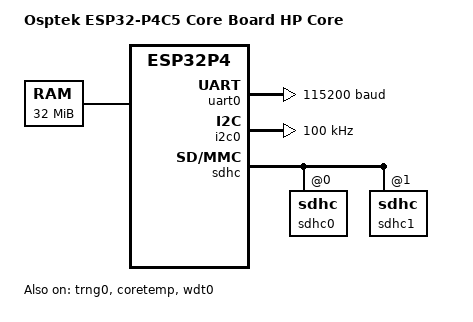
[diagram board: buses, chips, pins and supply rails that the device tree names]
/*
 * Copyright (c) 2026 Tessera Project
 *
 * SPDX-License-Identifier: Apache-2.0
 *
 * Osptek ESP32-P4C5 module on the Osptek ESP32P4 base carrier (HP core) —
 * ESP32-P4 + ESP32-C5 companion.
 * Adapted from in-tree waveshare/esp32p4_wifi6_dev_kit (same P4 SoC family).
 *
 * Vendor material this definition was checked against (2026-11-24):
 *   - gitee.com/osptek/esp32-p4c5-core-board: 88-pin table
 *     (pages/引脚定义.md), module Altium symbol library, PCB library, 3D model.
 *   - gitee.com/osptek/devboard-esp32p4c5_module: carrier schematic
 *     docs/ESP32-P4C5-Module_Schematic_V1.5.pdf (Ver 1.5, 2026-08-29,
 *     sheet "ESP32P4模组基础底板"), PoE-Ethernet adapter schematic V1.2,
 *     and the prebuilt C5 firmware ESP32-C5_ESP-Hosted_v2.12.9 (flash 0x0).
 *   The module's own schematic is not published (the core-board user guide
 *   says "5. 原理图 暂无"), so the module pin table is the pin source.
 *
 * Board facts: 16MB NOR flash, 32MB embedded PSRAM, CH343 USB-UART bridge on
 * UART0 (GPIO37 TXD / GPIO38 RXD), ESP32-P4 rev v3.2 (the Zephyr SoC
 * revision selected by Kconfig.esp32p4c5_core_board is REV_3_1). No on-board
 * LED/buttons: the carrier's LEDs belong to the display FPC and BOOT/RST are
 * the CH343's auto-download circuits, not mechanical switches.
 *
 * C5 companion wiring (vendor c5-p4-connection.png + carrier schematic):
 * SDIO pads P4 GPIO14/15/16/17/18/19 = D0/D1/D2/D3/CLK/CMD, reset P4 GPIO54 ->
 * C5 CHIP_PU (= &gpio1 22 in the gpio1 controller 32-base numbering),
 * handshake P4 GPIO6 <-> C5 GPIO2 (not modeled by the current
 * esp_hosted_mcu binding). Enabled: C5 runs an esp-hosted 3.x slave
 * firmware (owner-confirmed 2026-10-30) matching the driver contract — note
 * the vendor's prebuilt C5 binary is classic ESP-Hosted v2.12.9, which is a
 * different firmware line and must not be flashed over the MCU build.
 * Required pinned-driver patches are listed in build-support/README.md and
 * build-support/dependencies.json; network validation boundaries are in
 * docs/rf1-validation.md. Enumeration alone does not establish scan,
 * association, DHCP or TLS acceptance.
 */

/dts-v1/;

#include <espressif/esp32p4/esp32p4_rev3.dtsi>
#include "esp32p4c5_core_board_esp32p4_hpcore-pinctrl.dtsi"
#include <espressif/partitions_0x2000_default_16M.dtsi>
#include <zephyr/dt-bindings/memory-attr/memory-attr.h>
#include <zephyr/dt-bindings/memory-attr/memory-attr-sw.h>

/* Size of the in-package PSRAM; the device and the allocation pool below
 * must agree. */
#define PSRAM_BYTES DT_SIZE_M(32)

/ {
	model = "Osptek ESP32-P4C5 Core Board HP Core";
	compatible = "osptek,esp32p4c5-core-board";

	chosen {
		zephyr,sram = &sramhp;
		zephyr,console = &uart0;
		zephyr,shell-uart = &uart0;
		zephyr,flash = &flash0;
		zephyr,code-partition = &slot0_partition;
		zephyr,watchdog = &wdt0;
		zephyr,bt-hci = &esp_hosted_mcu_hci;
	};

	aliases {
		watchdog0 = &wdt0;
	};

	/*
	 * The in-package PSRAM, all of it, is the allocation pool of the C
	 * library's allocator (platform/zephyr/libc_heap.c; owner decision
	 * 2026-11-24). It starts at the base of the mapped PSRAM, where the
	 * linker's ext_dram_seg starts too, so nothing may be placed there at
	 * link time: CONFIG_ESP_SPIRAM_HEAP_SIZE is 0 in the board defconfig and
	 * the shared multi-heap is off (a zero-size window must not be handed to
	 * it). An app that needs static objects in PSRAM shrinks this node.
	 */
	psram_heap: memory@48000000 {
		compatible = "zephyr,memory-region";
		reg = <0x48000000 PSRAM_BYTES>;
		zephyr,memory-region = "PSRAM_HEAP";
		zephyr,memory-attr = <(DT_MEM_CACHEABLE | DT_MEM_SW(ATTR_SW_ALLOC_CACHE))>;
	};
};

&flash0 {
	reg = <0x0 DT_SIZE_M(16)>;
	ranges = <0x0 0x0 DT_SIZE_M(16)>;
};

&psram0 {
	size = <PSRAM_BYTES>;
};

/* v3.x silicon: valid CPU frequencies are 100/200/400 MHz */
&cpu0 {
	clock-frequency = <DT_FREQ_M(400)>;
};

&cpu1 {
	clock-frequency = <DT_FREQ_M(400)>;
};

&uart0 {
	status = "okay";
	current-speed = <115200>;
	pinctrl-0 = <&uart0_default>;
	pinctrl-names = "default";
};

&i2c0 {
	status = "okay";
	clock-frequency = <I2C_BITRATE_STANDARD>;
	pinctrl-0 = <&i2c0_default>;
	pinctrl-names = "default";
	/* Dev-board ES8311 codec on this bus (expect 0x18) — I2S0 pad map
	 * pending vendor confirmation (schematic text layer has the I2S0_*
	 * nets but not their GPIO mapping). */
};

&trng0 {
	status = "okay";
};

&coretemp {
	status = "okay";
};

&gpio0 {
	status = "okay";
};

&gpio1 {
	status = "okay";
};

&wdt0 {
	status = "okay";
};

&dma {
	status = "okay";
};

&dma_axi {
	status = "okay";
};

/*
 * Internal LDO rails. Channel 2 (1.8 V) feeds the stacked PSRAM and its
 * MPLL: ESP-IDF reserves that channel for PSRAM and opens it before the chip
 * is initialized, while the Zephyr port of the same vendor code leaves the
 * rail to the devicetree regulator driver (hal_espressif skips its own
 * acquire when CONFIG_REGULATOR_ESP32 is built). Upstream boards with
 * in-package PSRAM declare it exactly like this (waveshare
 * esp32p4_wifi6_dev_kit, espressif esp32p4x_function_ev_board). Without the
 * declaration the rail stays off and every PSRAM read returns 0x3b3b3b3b.
 * Channel 1 (3.3 V) is the SPI NOR flash rail the ROM already enables.
 *
 * Channels 3 and 4 stay off. The regulator driver enables every child node
 * that is left "okay", so they are disabled explicitly: the carrier routes
 * neither (the module exposes only VO4 on pin 66, unrouted on the carrier
 * schematic V1.5, and VO3 is not exposed at all), and the ROM leaves both
 * off after reset.
 */
&ldo {
	status = "okay";

	ldo1@1 {
		reg = <1>;
		regulator-name = "ldo1";
		regulator-init-microvolt = <3300000>;
		regulator-boot-on;
		regulator-always-on;
	};

	ldo2@2 {
		reg = <2>;
		regulator-name = "ldo2";
		regulator-init-microvolt = <1800000>;
		regulator-boot-on;
		regulator-always-on;
	};

	ldo3@3 {
		status = "disabled";
	};

	ldo4@4 {
		status = "disabled";
	};
};

&sdhc {
	sdhc0: sdhc@0 {
		status = "okay";
		/* Dev-board TF slot P1 (TF-123-ARP9H17)。P4 SDMMC slot0 无
		 * GPIO matrix（LL：仅 slot1 支持）——sdhc_esp32 走
		 * configure_pin_iomux 对本组焊盘套 SDMMC func0；焊盘**角色**
		 * 由 func0 硬连线决定（CLK=GPIO43=SD1_CCLK、CMD=GPIO44=
		 * SD1_CCMD、D3..D0=GPIO42..39，与核心板 88-pin 焊盘复用表
		 * 一致，2026-11-24 又与底板原理图 V1.5 的 TF_CARD 块逐脚核对：
		 * DATA0=GPIO39/DATA1=GPIO40/DATA2=GPIO41/DATA3=GPIO42、
		 * CMD=GPIO44/CLK=GPIO43，数据与命令线各有 10K 上拉）。
		 * r14 真机对拍：clk/cmd 值互换两轮
		 * sd_init 均 PASS（角色不随属性标签走）、属性全删即
		 * INIT_FAIL(-ENOTSUP=焊盘未使能)——即属性决定"使能哪组焊盘"
		 * （必须正确），clk/cmd 语义标签不路由信号；标签保持与物理
		 * 一致防误读。SD_DET=GPIO45（卡座 SWITCH 脚 9，外部 10K 上拉，
		 * 底板原理图 V1.5 一致）无 binding cd 面——应用层读
		 * （ACTIVE_HIGH：卡在位=1，r14 真机实证：插卡后卡座开关断开、
		 * 物理高电平）。 */
		bus-width = <4>;
		max-bus-freq = <DT_FREQ_M(40)>;
		clk-pin = <43>;
		cmd-pin = <44>;
		d0-pin = <39>;
		d1-pin = <40>;
		d2-pin = <41>;
		d3-pin = <42>;

		mmc {
			compatible = "zephyr,sdmmc-disk";
			disk-name = "SD";
			status = "okay";
		};
	};

	sdhc1: sdhc@1 {
		status = "okay";
		/* ESP32-C5 companion (c5-p4-connection.png): C5 slave firmware
		 * = esp-hosted 3.x (owner-confirmed 2026-10-30, matches the
		 * driver's major-3 contract).
		 * Handshake IO: P4 GPIO6 <-> C5 GPIO2 (not modeled by the
		 * current esp_hosted_mcu binding). */
		bus-width = <4>;
		max-bus-freq = <DT_FREQ_M(40)>;
		clk-pin = <18>;
		cmd-pin = <19>;
		d0-pin = <14>;
		d1-pin = <15>;
		d2-pin = <16>;
		d3-pin = <17>;
		#address-cells = <1>;
		#size-cells = <0>;

		esp_hosted_mcu: esp-hosted-mcu@0 {
			compatible = "espressif,esp-hosted-mcu";
			reg = <0>;
			reset-gpios = <&gpio1 22 GPIO_ACTIVE_HIGH>;
			status = "okay";

			esp_hosted_mcu_wifi: wifi {
				compatible = "espressif,esp-hosted-mcu-wifi";
				status = "okay";
			};

			esp_hosted_mcu_hci: bt-hci {
				compatible = "espressif,esp-hosted-mcu-bt-hci";
				status = "okay";
			};
		};
	};
};

&usb_serial {
	status = "disabled";
};

&i2s0 {
	/* Audio face (schematic PDF hi-res render per-pin read, 2026-10-30
	 * final): MCLK=GPIO13, BCLK(SCLK)=GPIO12, WS(LRCK)=GPIO10,
	 * DO(DSDIN, P4 out)=GPIO9, DI(ASDOUT, P4 in)=GPIO11; ES8311 @ i2c0
	 * 0x18 (probed online), NS4150 PA ctrl = GPIO53 (STD), analog MEMS
	 * mic (LMA3729) differential into MIC1P/N. Acoustic loop verified
	 * on-target 2026-10-30 (speaker -> mic, evidence
	 * p4c5_audio_acoustic_loop_20261030.txt) with esp32-gdma PR #123642
	 * applied in the build tree only; held disabled until that fix
	 * lands upstream (or passes a pristine-tree run) - flip to "okay"
	 * then. */
	status = "disabled";
	pinctrl-0 = <&i2s0_default>;
	pinctrl-names = "default";
	dmas = <&dma 0>, <&dma 1>;
	dma-names = "rx", "tx";
};
